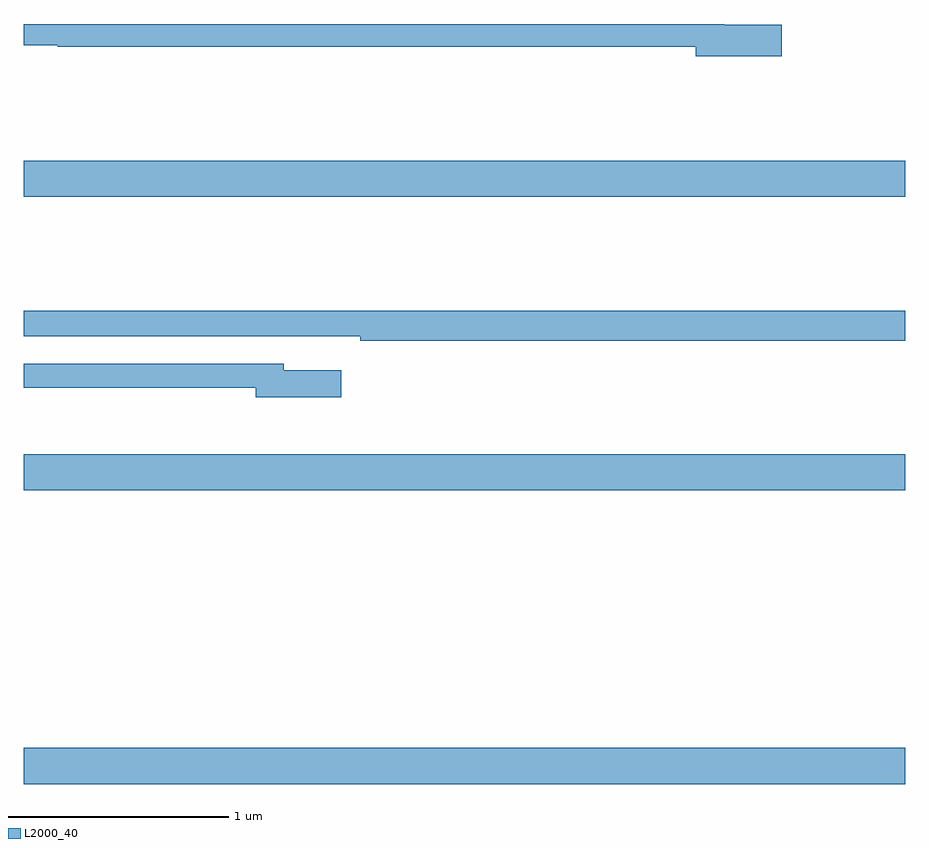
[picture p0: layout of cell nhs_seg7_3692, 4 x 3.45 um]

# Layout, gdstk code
import gdstk
lib = gdstk.Library(unit=1e-6, precision=1e-09)
def R(c, l, rs):  # rectangles x0, y0, x1, y1
    for r in rs: c.add(gdstk.rectangle(r[:2], r[2:], *l))
def A(c, l, x, y, w, h, nx, ny, dx, dy):  # array of equal rectangles
    R(c, l, [(x+i*dx, y+j*dy, x+i*dx+w, y+j*dy+h) for i in range(nx) for j in range(ny)])
def P(c, l, *ps):  # polygons
    for p in ps: c.add(gdstk.Polygon(p, *l))
L2000_40 = (2000, 40)

nhs_seg7_3692 = lib.new_cell('nhs_seg7_3692')
A(nhs_seg7_3692, L2000_40, 345, 1064.552, 4, 0.164, 1, 3, 0, 1.332)
P(nhs_seg7_3692, L2000_40, [(348.439,1067.996),(348.178,1067.996),(348.178,1068),(345,1068),(345,1067.904),(345.154,1067.904),(345.154,1067.896),(348.05,1067.896),(348.05,1067.854),(348.439,1067.854)],
  [(349,1066.7),(345,1066.7),(345,1066.584),(346.276,1066.584),(346.276,1066.583),(346.528,1066.583),(346.528,1066.564),(349,1066.564)],
  [(346.441,1066.429),(346.18,1066.429),(346.18,1066.458),(345,1066.458),(345,1066.35),(346.052,1066.35),(346.052,1066.307),(346.441,1066.307)])

lib.write_gds('nhs_seg7_3692.gds')
